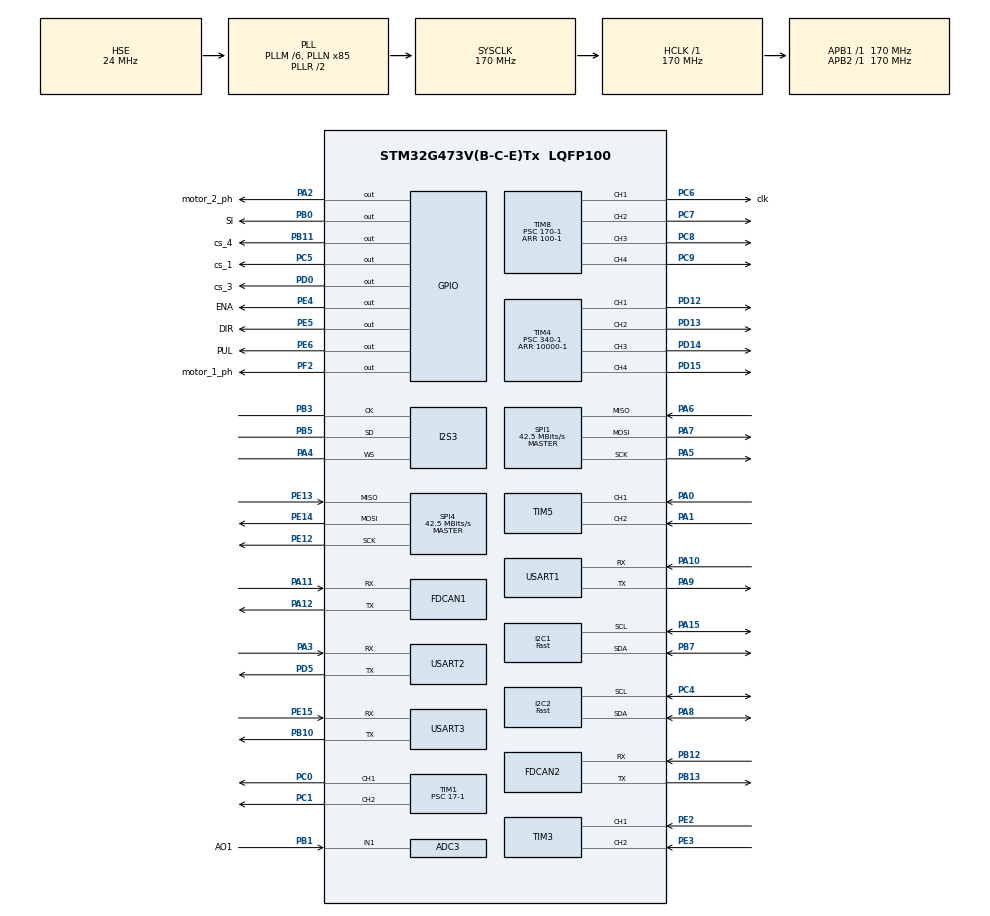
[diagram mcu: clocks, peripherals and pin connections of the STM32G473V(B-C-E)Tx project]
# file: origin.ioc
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ADC3.Channel-1\#ChannelRegularConversion=ADC_CHANNEL_1
ADC3.ExternalTrigConv=ADC_EXTERNALTRIG_T8_TRGO
ADC3.NbrOfConversionFlag=1
ADC3.OffsetNumber-1\#ChannelRegularConversion=ADC_OFFSET_NONE
ADC3.Rank-1\#ChannelRegularConversion=1
ADC3.SamplingTime-1\#ChannelRegularConversion=ADC_SAMPLETIME_2CYCLES_5
ADC3.master=1
Dma.ADC3.0.Direction=DMA_PERIPH_TO_MEMORY
Dma.ADC3.0.EventEnable=DISABLE
Dma.ADC3.0.Instance=DMA1_Channel1
Dma.ADC3.0.MemDataAlignment=DMA_MDATAALIGN_HALFWORD
Dma.ADC3.0.MemInc=DMA_MINC_ENABLE
Dma.ADC3.0.Mode=DMA_NORMAL
Dma.ADC3.0.PeriphDataAlignment=DMA_PDATAALIGN_HALFWORD
Dma.ADC3.0.PeriphInc=DMA_PINC_DISABLE
Dma.ADC3.0.Polarity=HAL_DMAMUX_REQ_GEN_RISING
Dma.ADC3.0.Priority=DMA_PRIORITY_LOW
Dma.ADC3.0.RequestNumber=1
Dma.ADC3.0.SignalID=NONE
Dma.ADC3.0.SyncEnable=DISABLE
Dma.ADC3.0.SyncPolarity=HAL_DMAMUX_SYNC_NO_EVENT
Dma.ADC3.0.SyncRequestNumber=1
Dma.ADC3.0.SyncSignalID=NONE
Dma.Request0=ADC3
FDCAN1.CalculateBaudRateNominal=3541666
FDCAN1.CalculateTimeBitNominal=282
FDCAN1.CalculateTimeQuantumNominal=94.11764705882354
FDCAN2.CalculateBaudRateNominal=3541666
FDCAN2.CalculateTimeBitNominal=282
FDCAN2.CalculateTimeQuantumNominal=94.11764705882354
I2C1.I2C_Speed_Mode=I2C_Fast
I2C1.Timing=0x40621236
I2C2.I2C_Speed_Mode=I2C_Fast
I2C2.Timing=0x40621236
I2S3.AudioFreq=I2S_AUDIOFREQ_16K
I2S3.ErrorAudioFreq=0.0 %
I2S3.FullDuplexMode=I2S_FULLDUPLEXMODE_DISABLE
I2S3.Instance=SPI$Index
I2S3.RealAudioFreq=16.001 KHz
I2S3.VirtualMode=I2S_MODE_MASTER
Mcu.Family=STM32G4
Mcu.Name=STM32G473V(B-C-E)Tx
Mcu.Package=LQFP100
NVIC.DMA1_Channel1_IRQn=true\:0\:0\:false\:false\:true\:false\:true\:true
NVIC.PriorityGroup=NVIC_PRIORITYGROUP_4
NVIC.TIM2_IRQn=true\:0\:0\:false\:false\:true\:true\:true\:true
NVIC.TIM6_DAC_IRQn=true\:0\:0\:false\:false\:true\:true\:true\:true
PA0.Signal=S_TIM5_CH1
PA1.Signal=S_TIM5_CH2
PA10.Mode=Asynchronous
PA10.Signal=USART1_RX
PA11.Mode=FDCAN_Activate
PA11.Signal=FDCAN1_RX
PA12.Mode=FDCAN_Activate
PA12.Signal=FDCAN1_TX
PA13.Mode=Serial_Wire
PA13.Signal=SYS_JTMS-SWDIO
PA14.Mode=Serial_Wire
PA14.Signal=SYS_JTCK-SWCLK
PA15.Mode=I2C
PA15.Signal=I2C1_SCL
PA2.GPIO_Label=motor_2_ph
PA2.Signal=GPIO_Output
PA3.Mode=Asynchronous
PA3.Signal=USART2_RX
PA4.Mode=Half_Duplex_Master
PA4.Signal=I2S3_WS
PA5.Mode=Full_Duplex_Master
PA5.Signal=SPI1_SCK
PA6.Mode=Full_Duplex_Master
PA6.Signal=SPI1_MISO
PA7.Mode=Full_Duplex_Master
PA7.Signal=SPI1_MOSI
PA8.Mode=I2C
PA8.Signal=I2C2_SDA
PA9.Mode=Asynchronous
PA9.Signal=USART1_TX
PB0.GPIO_Label=SI
PB0.GPIO_Speed=GPIO_SPEED_FREQ_VERY_HIGH
PB0.Signal=GPIO_Output
PB1.GPIO_Label=AO1
PB1.Mode=IN1-Single-Ended
PB1.Signal=ADC3_IN1
PB10.Mode=Asynchronous
PB10.Signal=USART3_TX
PB11.GPIO_Label=cs_4
PB11.Signal=GPIO_Output
PB12.Mode=FDCAN_Activate
PB12.Signal=FDCAN2_RX
PB13.Mode=FDCAN_Activate
PB13.Signal=FDCAN2_TX
PB3.Mode=Half_Duplex_Master
PB3.Signal=I2S3_CK
PB5.Mode=Half_Duplex_Master
PB5.Signal=I2S3_SD
PB7.Mode=I2C
PB7.Signal=I2C1_SDA
PC0.Signal=S_TIM1_CH1
PC1.Signal=S_TIM1_CH2
PC10.Signal=UART4_TX
PC11.Signal=UART4_RX
PC12.Signal=UART5_TX
PC4.Mode=I2C
PC4.Signal=I2C2_SCL
PC5.GPIO_Label=cs_1
PC5.Signal=GPIO_Output
PC6.GPIO_Label=clk
PC6.Signal=S_TIM8_CH1
PC7.Signal=S_TIM8_CH2
PC8.Signal=S_TIM8_CH3
PC9.Signal=S_TIM8_CH4
PD0.GPIO_Label=cs_3
PD0.Signal=GPIO_Output
PD10.Signal=ADC5_IN7
PD11.Signal=ADC5_IN8
PD12.Signal=S_TIM4_CH1
PD13.Signal=S_TIM4_CH2
PD14.Signal=S_TIM4_CH3
PD15.Signal=S_TIM4_CH4
PD2.Signal=UART5_RX
PD3.Signal=S_TIM2_CH1
PD4.Signal=S_TIM2_CH2
PD5.Mode=Asynchronous
PD5.Signal=USART2_TX
PD6.Signal=S_TIM2_CH4
PD7.Signal=S_TIM2_CH3
PD8.Signal=ADC5_IN12
PD9.Signal=ADC5_IN13
PE12.Mode=Full_Duplex_Master
PE12.Signal=SPI4_SCK
PE13.Mode=Full_Duplex_Master
PE13.Signal=SPI4_MISO
PE14.Mode=Full_Duplex_Master
PE14.Signal=SPI4_MOSI
PE15.Mode=Asynchronous
PE15.Signal=USART3_RX
PE2.Signal=S_TIM3_CH1
PE3.Signal=S_TIM3_CH2
PE4.GPIO_Label=ENA
PE4.Signal=GPIO_Output
PE5.GPIO_Label=DIR
PE5.Signal=GPIO_Output
PE6.GPIO_Label=PUL
PE6.Signal=GPIO_Output
PE9.GPIO_Label=ccd_b
PE9.Signal=ADC3_IN2
PF0-OSC_IN.Mode=HSE-External-Oscillator
PF0-OSC_IN.Signal=RCC_OSC_IN
PF1-OSC_OUT.Mode=HSE-External-Oscillator
PF1-OSC_OUT.Signal=RCC_OSC_OUT
PF2.GPIO_Label=motor_1_ph
PF2.Signal=GPIO_Output
ProjectManager.HeapSize=0x200
ProjectManager.StackSize=0x400
ProjectManager.TargetToolchain=MDK-ARM V5.32
RCC.ADC12Freq_Value=170000000
RCC.ADC345Freq_Value=170000000
RCC.AHBFreq_Value=170000000
RCC.APB1Freq_Value=170000000
RCC.APB1TimFreq_Value=170000000
RCC.APB2Freq_Value=170000000
RCC.APB2TimFreq_Value=170000000
RCC.CortexFreq_Value=170000000
RCC.EXTERNAL_CLOCK_VALUE=12288000
RCC.HCLKFreq_Value=170000000
RCC.HSE_VALUE=24000000
RCC.HSI48_VALUE=48000000
RCC.HSI_VALUE=16000000
RCC.LSE_VALUE=32768
RCC.PLLM=RCC_PLLM_DIV6
RCC.PLLN=85
RCC.PLLSourceVirtual=RCC_PLLSOURCE_HSE
RCC.SYSCLKFreq_VALUE=170000000
RCC.SYSCLKSource=RCC_SYSCLKSOURCE_PLLCLK
RCC.USBFreq_Value=170000000
RCC.VCOOutputFreq_Value=340000000
SH.S_TIM1_CH1.0=TIM1_CH1,PWM Generation1 CH1
SH.S_TIM1_CH2.0=TIM1_CH2,PWM Generation2 CH2
SH.S_TIM2_CH1.0=TIM2_CH1
SH.S_TIM2_CH2.0=TIM2_CH2
SH.S_TIM2_CH3.0=TIM2_CH3
SH.S_TIM2_CH4.0=TIM2_CH4
SH.S_TIM3_CH1.0=TIM3_CH1,Encoder_Interface
SH.S_TIM3_CH2.0=TIM3_CH2,Encoder_Interface
SH.S_TIM4_CH1.0=TIM4_CH1,PWM Generation1 CH1
SH.S_TIM4_CH2.0=TIM4_CH2,PWM Generation2 CH2
SH.S_TIM4_CH3.0=TIM4_CH3,PWM Generation3 CH3
SH.S_TIM4_CH4.0=TIM4_CH4,PWM Generation4 CH4
SH.S_TIM5_CH1.0=TIM5_CH1,Encoder_Interface
SH.S_TIM5_CH2.0=TIM5_CH2,Encoder_Interface
SH.S_TIM8_CH1.0=TIM8_CH1,PWM Generation1 CH1
SH.S_TIM8_CH2.0=TIM8_CH2,PWM Generation2 CH2
SH.S_TIM8_CH3.0=TIM8_CH3,PWM Generation3 CH3
SH.S_TIM8_CH4.0=TIM8_CH4,PWM Generation4 CH4
SPI1.BaudRatePrescaler=SPI_BAUDRATEPRESCALER_4
SPI1.CalculateBaudRate=42.5 MBits/s
SPI1.Direction=SPI_DIRECTION_2LINES
SPI1.Mode=SPI_MODE_MASTER
SPI1.VirtualType=VM_MASTER
SPI4.BaudRatePrescaler=SPI_BAUDRATEPRESCALER_4
SPI4.CalculateBaudRate=42.5 MBits/s
SPI4.Direction=SPI_DIRECTION_2LINES
SPI4.Mode=SPI_MODE_MASTER
SPI4.VirtualType=VM_MASTER
TIM1.AutoReloadPreload=TIM_AUTORELOAD_PRELOAD_ENABLE
TIM1.Channel-PWM\ Generation1\ CH1=TIM_CHANNEL_1
TIM1.Channel-PWM\ Generation2\ CH2=TIM_CHANNEL_2
TIM1.PeriodNoDither=1000-1
TIM1.Prescaler=17-1
TIM2.AutoReloadPreload=TIM_AUTORELOAD_PRELOAD_ENABLE
TIM2.PeriodNoDither=5000-1
TIM2.Prescaler=170-1
TIM4.Channel-PWM\ Generation1\ CH1=TIM_CHANNEL_1
TIM4.Channel-PWM\ Generation2\ CH2=TIM_CHANNEL_2
TIM4.Channel-PWM\ Generation3\ CH3=TIM_CHANNEL_3
TIM4.Channel-PWM\ Generation4\ CH4=TIM_CHANNEL_4
TIM4.PeriodNoDither=10000-1
TIM4.Prescaler=340-1
TIM6.PeriodNoDither=170-1
TIM6.Prescaler=3000-1
TIM8.AutoReloadPreload=TIM_AUTORELOAD_PRELOAD_ENABLE
TIM8.Channel-PWM\ Generation1\ CH1=TIM_CHANNEL_1
TIM8.Channel-PWM\ Generation2\ CH2=TIM_CHANNEL_2
TIM8.Channel-PWM\ Generation3\ CH3=TIM_CHANNEL_3
TIM8.Channel-PWM\ Generation4\ CH4=TIM_CHANNEL_4
TIM8.PeriodNoDither=100-1
TIM8.Prescaler=170-1
USART1.VirtualMode-Asynchronous=VM_ASYNC
USART2.VirtualMode-Asynchronous=VM_ASYNC
USART3.VirtualMode-Asynchronous=VM_ASYNC
VP_SYS_VS_DBSignals.Mode=DisableDeadBatterySignals
VP_TIM1_VS_ClockSourceINT.Mode=Internal
VP_TIM2_VS_ClockSourceINT.Mode=Internal
VP_TIM4_VS_ClockSourceINT.Mode=Internal
VP_TIM6_VS_ClockSourceINT.Mode=Enable_Timer
VP_TIM8_VS_ClockSourceINT.Mode=Internal
board=custom

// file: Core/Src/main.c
/* USER CODE BEGIN Header */
/**
  ******************************************************************************
  * @file           : main.c
  * @brief          : Main program body
  ******************************************************************************
  * @attention
  *
  * Copyright (c) 2025 STMicroelectronics.
  * All rights reserved.
  *
  * This software is licensed under terms that can be found in the LICENSE file
  * in the root directory of this software component.
  * If no LICENSE file comes with this software, it is provided AS-IS.
  *
  ******************************************************************************
  */
/* USER CODE END Header */
#include "main.h"
#include "adc.h"
#include "dma.h"
#include "fdcan.h"
#include "i2c.h"
#include "i2s.h"
#include "spi.h"
#include "tim.h"
#include "usart.h"
#include "gpio.h"

/* USER CODE BEGIN Includes */
	#include "string.h"
/* USER CODE END Includes */

/* USER CODE BEGIN PV */

uint32_t icg_flag;

	 uint8_t  ir_x[8] ;
/* USER CODE END PV */

void SystemClock_Config(void);
/* USER CODE BEGIN PFP */
	 void delay_us(uint32_t us)
{
    uint32_t delay = (HAL_RCC_GetHCLKFreq() / 4000000 * us);
    while (delay--)
    {
        __NOP(); //防止编译器优化
    }
}

 void HAL_TIM_PeriodElapsedCallback(TIM_HandleTypeDef *htim)
{
  if (htim->Instance == htim6.Instance)
    {
			 if (HAL_GetTick() - icg_flag >= 10)
        {
            HAL_GPIO_WritePin(SI_GPIO_Port, SI_Pin, 1);
            delay_us(6);
            HAL_GPIO_WritePin(SI_GPIO_Port, SI_Pin, 0);
            HAL_ADC_Start_DMA(&hadc3, (uint32_t *)ccd_data, 128);
            icg_flag = HAL_GetTick();
        }
    }

}
/* USER CODE END PFP */

int main(void)
{

  /* MCU Configuration--------------------------------------------------------*/

  /* Reset of all peripherals, Initializes the Flash interface and the Systick. */
  HAL_Init();

  /* Configure the system clock */
  SystemClock_Config();

  /* Initialize all configured peripherals */
  MX_GPIO_Init();
  MX_DMA_Init();
  MX_TIM1_Init();
  MX_USART1_UART_Init();
  MX_USART3_UART_Init();
  MX_TIM2_Init();
  MX_TIM3_Init();
  MX_TIM5_Init();
  MX_SPI1_Init();
  MX_TIM8_Init();
  MX_TIM4_Init();
  MX_USART2_UART_Init();
  MX_ADC3_Init();
  MX_FDCAN1_Init();
  MX_FDCAN2_Init();
  MX_I2C1_Init();
  MX_I2C2_Init();
  MX_I2S3_Init();
  MX_SPI4_Init();
  MX_TIM6_Init();
  /* USER CODE BEGIN 2 */
	//tim1是给两个普通直流电机的，tim3是编码器1，tim5是编码器2，tim2只用于普通定时（利用中断）
	//tim6是给ccd用，tim8和tim4是用于输出pwm  配置：340-1，10000-1
//  中断开启
HAL_TIM_Base_Start_IT(&htim2);
HAL_TIM_Base_Start_IT(&htim6);
//
HAL_TIM_PWM_Start(&htim1,TIM_CHANNEL_1);
HAL_TIM_PWM_Start(&htim1,TIM_CHANNEL_2);
HAL_TIM_Encoder_Start(&htim3,TIM_CHANNEL_ALL);
HAL_TIM_Encoder_Start(&htim5,TIM_CHANNEL_ALL);
//舵机
 HAL_TIM_PWM_Start(&htim8,TIM_CHANNEL_4);
HAL_TIM_PWM_Start(&htim8,TIM_CHANNEL_3);
 HAL_TIM_PWM_Start(&htim8,TIM_CHANNEL_2);
HAL_TIM_PWM_Start(&htim8,TIM_CHANNEL_1);
 HAL_TIM_PWM_Start(&htim4,TIM_CHANNEL_4);
HAL_TIM_PWM_Start(&htim4,TIM_CHANNEL_3);
 HAL_TIM_PWM_Start(&htim4,TIM_CHANNEL_2);
HAL_TIM_PWM_Start(&htim4,TIM_CHANNEL_1);
//灰度配置
//  set_adjust_mode(1);
//  HAL_Delay(500);
//
//  set_adjust_mode(0);
//  HAL_Delay(500);

 //tcs230配置
  HAL_UART_Receive_IT(&huart3, &RxData, 1);

  printf("AT+LIGHT+ON\r\n");
  printf("AT+LIGHT+ON\r\n");
  printf("AT+LIGHT+ON\r\n");
  printf("AT+LIGHT+ON\r\n");
  printf("AT+LIGHT+ON\r\n");
  printf("AT+LIGHT+ON\r\n");
	//普通电机配置
	speed_left = 0;
  speed_right = 0;
  speed_all = 0;

	PID_struct_init(&pid_left, POSITION_PID, 950, 950, 50, 0, 0);
  PID_struct_init(&pid_right, POSITION_PID, 950, 950, 50, 0, 0);

	// //灰度循迹配置
  // set_adjust_mode(1);
  // HAL_Delay(500);
  // set_adjust_mode(0);
  // HAL_Delay(500);
	__HAL_TIM_SET_COMPARE(&htim8,TIM_CHANNEL_1,50);
	char t[128];
        sprintf(t, "CCD_Zhongzhi=%d\r\n",CCD_Zhongzhi);
  /* USER CODE END 2 */

  /* Infinite loop */
  while (1)
  {

    /* USER CODE BEGIN 3 */
		Find_CCD_Zhongzhi();
		HAL_Delay(100);
		sprintf(t, "CCD_Zhongzhi=%d\r\n",CCD_Zhongzhi);
		HAL_UART_Transmit(&huart1,t,strlen(t),HAL_MAX_DELAY);
		HAL_Delay(200);
  }
  /* USER CODE END 3 */
}

void SystemClock_Config(void)
{
  RCC_OscInitTypeDef RCC_OscInitStruct = {0};
  RCC_ClkInitTypeDef RCC_ClkInitStruct = {0};

  /** Configure the main internal regulator output voltage
  */
  HAL_PWREx_ControlVoltageScaling(PWR_REGULATOR_VOLTAGE_SCALE1_BOOST);

  /** Initializes the RCC Oscillators according to the specified parameters
  * in the RCC_OscInitTypeDef structure.
  */
  RCC_OscInitStruct.OscillatorType = RCC_OSCILLATORTYPE_HSE;
  RCC_OscInitStruct.HSEState = RCC_HSE_ON;
  RCC_OscInitStruct.PLL.PLLState = RCC_PLL_ON;
  RCC_OscInitStruct.PLL.PLLSource = RCC_PLLSOURCE_HSE;
  RCC_OscInitStruct.PLL.PLLM = RCC_PLLM_DIV6;
  RCC_OscInitStruct.PLL.PLLN = 85;
  RCC_OscInitStruct.PLL.PLLP = RCC_PLLP_DIV2;
  RCC_OscInitStruct.PLL.PLLQ = RCC_PLLQ_DIV2;
  RCC_OscInitStruct.PLL.PLLR = RCC_PLLR_DIV2;
  if (HAL_RCC_OscConfig(&RCC_OscInitStruct) != HAL_OK)
  {
    Error_Handler();
  }

  /** Initializes the CPU, AHB and APB buses clocks
  */
  RCC_ClkInitStruct.ClockType = RCC_CLOCKTYPE_HCLK|RCC_CLOCKTYPE_SYSCLK
                              |RCC_CLOCKTYPE_PCLK1|RCC_CLOCKTYPE_PCLK2;
  RCC_ClkInitStruct.SYSCLKSource = RCC_SYSCLKSOURCE_PLLCLK;
  RCC_ClkInitStruct.AHBCLKDivider = RCC_SYSCLK_DIV1;
  RCC_ClkInitStruct.APB1CLKDivider = RCC_HCLK_DIV1;
  RCC_ClkInitStruct.APB2CLKDivider = RCC_HCLK_DIV1;

  if (HAL_RCC_ClockConfig(&RCC_ClkInitStruct, FLASH_LATENCY_4) != HAL_OK)
  {
    Error_Handler();
  }
}

void Error_Handler(void)
{
  __disable_irq();
  while (1)
  {
  }
}
